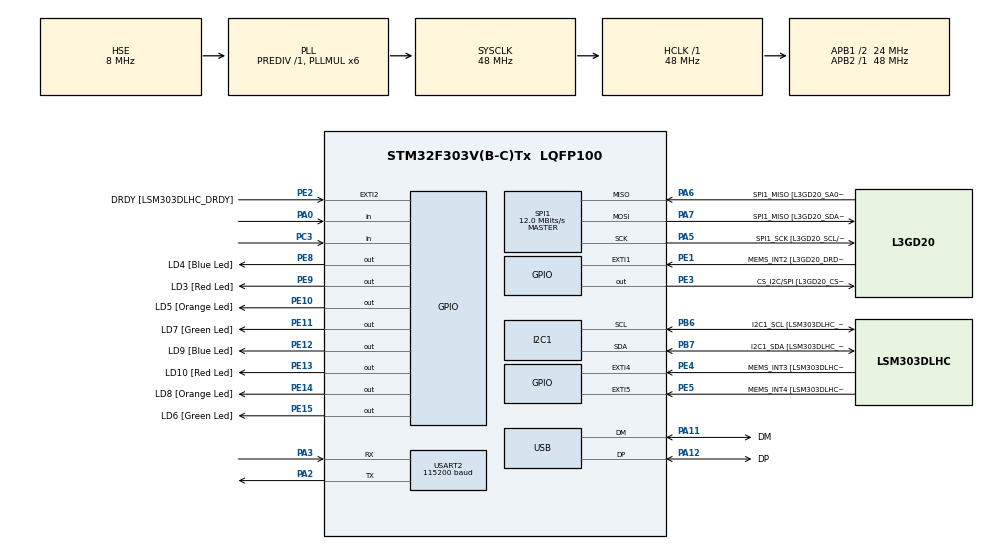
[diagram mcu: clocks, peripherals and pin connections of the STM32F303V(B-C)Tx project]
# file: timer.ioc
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I2C1.Timing-I2C=0x2000090E
Mcu.Family=STM32F3
Mcu.Name=STM32F303V(B-C)Tx
Mcu.Package=LQFP100
Mcu.UserConstants=reload_value,30000
NVIC.PVD_IRQn=true\:0\:0\:false\:false\:true\:true\:true\:true
NVIC.PriorityGroup=NVIC_PRIORITYGROUP_4
NVIC.USART2_IRQn=true\:0\:0\:false\:false\:true\:true\:true\:true
PA0.GPIO_PuPd=GPIO_PULLDOWN
PA0.Signal=GPIO_Input
PA11.GPIO_Label=DM
PA11.Mode=Device
PA11.Signal=USB_DM
PA12.GPIO_Label=DP
PA12.Mode=Device
PA12.Signal=USB_DP
PA13.GPIO_Label=SWDIO
PA13.Mode=Serial_Wire
PA13.Signal=SYS_JTMS-SWDIO
PA14.GPIO_Label=SWCLK
PA14.Mode=Serial_Wire
PA14.Signal=SYS_JTCK-SWCLK
PA2.Mode=Asynchronous
PA2.Signal=USART2_TX
PA3.Mode=Asynchronous
PA3.Signal=USART2_RX
PA5.GPIO_Label=SPI1_SCK [L3GD20_SCL/SPC]
PA5.Mode=Full_Duplex_Master
PA5.Signal=SPI1_SCK
PA6.GPIO_Label=SPI1_MISO [L3GD20_SA0/SDO]
PA6.Mode=Full_Duplex_Master
PA6.Signal=SPI1_MISO
PA7.GPIO_Label=SPI1_MISO [L3GD20_SDA/SDI/SDO]
PA7.Mode=Full_Duplex_Master
PA7.Signal=SPI1_MOSI
PB3.GPIO_Label=SWO
PB3.Signal=SYS_JTDO-TRACESWO
PB6.GPIO_Label=I2C1_SCL [LSM303DLHC_SCL]
PB6.GPIO_Pu=GPIO_PULLUP
PB6.Mode=I2C
PB6.Signal=I2C1_SCL
PB7.GPIO_Label=I2C1_SDA [LSM303DLHC_SDA]
PB7.GPIO_Pu=GPIO_PULLUP
PB7.Mode=I2C
PB7.Signal=I2C1_SDA
PC14-OSC32_IN.GPIO_Label=OSC32_IN
PC14-OSC32_IN.Signal=RCC_OSC32_IN
PC15-OSC32_OUT.GPIO_Label=OSC32_OUT
PC15-OSC32_OUT.Signal=RCC_OSC32_OUT
PC3.GPIO_PuPd=GPIO_PULLDOWN
PC3.Signal=GPIO_Input
PE1.GPIO_Label=MEMS_INT2 [L3GD20_DRDY/INT2]
PE1.GPIO_ModeDefaultEXTI=GPIO_MODE_EVT_RISING
PE1.Signal=GPXTI1
PE10.GPIO_Label=LD5 [Orange Led]
PE10.Signal=GPIO_Output
PE11.GPIO_Label=LD7 [Green Led]
PE11.Signal=GPIO_Output
PE12.GPIO_Label=LD9 [Blue Led]
PE12.Signal=GPIO_Output
PE13.GPIO_Label=LD10 [Red Led]
PE13.Signal=GPIO_Output
PE14.GPIO_Label=LD8 [Orange Led]
PE14.Signal=GPIO_Output
PE15.GPIO_Label=LD6 [Green Led]
PE15.Signal=GPIO_Output
PE2.GPIO_Label=DRDY [LSM303DLHC_DRDY]
PE2.GPIO_ModeDefaultEXTI=GPIO_MODE_EVT_RISING
PE2.Signal=GPXTI2
PE3.GPIO_Label=CS_I2C/SPI [L3GD20_CS_I2C/SPI]
PE3.Signal=GPIO_Output
PE4.GPIO_Label=MEMS_INT3 [LSM303DLHC_INT1]
PE4.GPIO_ModeDefaultEXTI=GPIO_MODE_EVT_RISING
PE4.Signal=GPXTI4
PE5.GPIO_Label=MEMS_INT4 [LSM303DLHC_INT2]
PE5.GPIO_ModeDefaultEXTI=GPIO_MODE_EVT_RISING
PE5.Signal=GPXTI5
PE8.GPIO_Label=LD4 [Blue Led]
PE8.Signal=GPIO_Output
PE9.GPIO_Label=LD3 [Red Led]
PE9.Signal=GPIO_Output
PF0-OSC_IN.GPIO_Label=OSC_IN
PF0-OSC_IN.Mode=HSE-External-Clock-Source
PF0-OSC_IN.Signal=RCC_OSC_IN
PF1-OSC_OUT.GPIO_Label=OSC_OUT
PF1-OSC_OUT.Signal=RCC_OSC_OUT
ProjectManager.HeapSize=0x200
ProjectManager.StackSize=0x400
ProjectManager.TargetToolchain=STM32CubeIDE
RCC.AHBFreq_Value=48000000
RCC.APB1CLKDivider=RCC_HCLK_DIV2
RCC.APB1Freq_Value=24000000
RCC.APB1TimFreq_Value=48000000
RCC.APB2Freq_Value=48000000
RCC.APB2TimFreq_Value=48000000
RCC.CortexFreq_Value=48000000
RCC.HCLKFreq_Value=48000000
RCC.HSE_VALUE=8000000
RCC.HSI_VALUE=8000000
RCC.LSE_VALUE=32768
RCC.PLLMUL=RCC_PLL_MUL6
RCC.SYSCLKFreq_VALUE=48000000
RCC.SYSCLKSourceVirtual=RCC_SYSCLKSOURCE_PLLCLK
RCC.USBFreq_Value=48000000
SPI1.BaudRatePrescaler=SPI_BAUDRATEPRESCALER_4
SPI1.BaudRatePrescaler-Full_Duplex_Master=SPI_BAUDRATEPRESCALER_2
SPI1.CalculateBaudRate=12.0 MBits/s
SPI1.CalculateBaudRate-Full_Duplex_Master=24.0 MBits/s
SPI1.Direction=SPI_DIRECTION_2LINES
SPI1.Mode=SPI_MODE_MASTER
SPI1.Mode-Full_Duplex_Master=SPI_MODE_MASTER
SPI1.VirtualType=VM_MASTER
USART2.BaudRate=115200
USART2.VirtualMode-Asynchronous=VM_ASYNC
board=STM32F3DISCOVERY

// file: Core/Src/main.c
/* USER CODE BEGIN Header */
/**
  ******************************************************************************
  * @file           : main.c
  * @brief          : Main program body
  ******************************************************************************
  * @attention
  *
  * Copyright (c) 2023 STMicroelectronics.
  * All rights reserved.
  *
  * This software is licensed under terms that can be found in the LICENSE file
  * in the root directory of this software component.
  * If no LICENSE file comes with this software, it is provided AS-IS.
  *
  ******************************************************************************
  */
/* USER CODE END Header */
#include "main.h"
#include "i2c.h"
#include "spi.h"
#include "usart.h"
#include "usb.h"
#include "gpio.h"

/* USER CODE BEGIN Includes */
#include "string.h"
#include "stdbool.h"
#include "stdio.h"
/* USER CODE END Includes */

/* USER CODE BEGIN PV */
volatile uint32_t counter = 0;
volatile bool rdy = false;
char msg[100];
uint32_t safe_counter = 0;
/* USER CODE END PV */

void SystemClock_Config(void);
/* USER CODE BEGIN PFP */

//void HAL_GPIO_EXTI_Callback(uint16_t GPIO_Pin){
//	if (GPIO_Pin == GPIO_PIN_0){
//		HAL_GPIO_TogglePin(GPIOE, GPIO_PIN_8);
//		if (HAL_GPIO_ReadPin(GPIOA, GPIO_Pin) == GPIO_PIN_SET)
//			++counter;
//	}
//}
////
//void HAL_TIM_PeriodElapsedCallback(TIM_HandleTypeDef *htim){
//	if (htim == &htim2){
////		__disable_irq();
//		safe_counter = counter;
//		counter = 0;
//		rdy = true;
////		__enable_irq();
//	}
//}

/* USER CODE END PFP */

int main(void)
{

  /* MCU Configuration--------------------------------------------------------*/

  /* Reset of all peripherals, Initializes the Flash interface and the Systick. */
  HAL_Init();

  /* Configure the system clock */
  SystemClock_Config();

  /* Initialize all configured peripherals */
  MX_GPIO_Init();
  MX_I2C1_Init();
  MX_SPI1_Init();
  MX_USB_PCD_Init();
  MX_USART2_UART_Init();
  /* USER CODE BEGIN 2 */
//  HAL_TIM_Base_Start_IT(&htim2);
  /* USER CODE END 2 */

  /* Infinite loop */
  /* USER CODE BEGIN WHILE */
  bool prev_state = false;
  uint32_t cnt = 0;
  uint32_t angle = 0;
  float r = 0.1;
  float speed = 0;
  while (1)
  {
//	  while (!rdy){
		  bool state = HAL_GPIO_ReadPin(GPIOC, GPIO_PIN_3);
		  if (state != prev_state){
			  prev_state = state;
			  ++counter;
//			  HAL_UART_Transmit_IT(&huart2, "c", 1);
		  }
//	  }
//	  rdy = false;
	  if (cnt % 15 == 0) {
		  angle = counter * 4;
		  speed = ((3.14 * r) / 180) * angle * 1000 / 15; // m/s
//		  sprintf(msg, ": %lu \r\n", (int)speed);

		  //HAL_UART_Transmit_IT(&huart2, (unsigned char*)msg, strlen(msg)); // to can
		  counter = 0;
	  }
	  if (cnt % 1000 == 0) {
		  sprintf(msg, "presses this second: %.2f\r\n", speed);

		  HAL_UART_Transmit_IT(&huart2, (unsigned char*)msg, strlen(msg));

	  }
    /* USER CODE END WHILE */

    /* USER CODE BEGIN 3 */

	  HAL_Delay(1);
	  cnt++;
	  if (10000 == cnt) {
		  cnt = 0;
	  }
  }
  /* USER CODE END 3 */
}

void SystemClock_Config(void)
{
  RCC_OscInitTypeDef RCC_OscInitStruct = {0};
  RCC_ClkInitTypeDef RCC_ClkInitStruct = {0};
  RCC_PeriphCLKInitTypeDef PeriphClkInit = {0};

  /** Initializes the RCC Oscillators according to the specified parameters
  * in the RCC_OscInitTypeDef structure.
  */
  RCC_OscInitStruct.OscillatorType = RCC_OSCILLATORTYPE_HSI|RCC_OSCILLATORTYPE_HSE;
  RCC_OscInitStruct.HSEState = RCC_HSE_BYPASS;
  RCC_OscInitStruct.HSEPredivValue = RCC_HSE_PREDIV_DIV1;
  RCC_OscInitStruct.HSIState = RCC_HSI_ON;
  RCC_OscInitStruct.HSICalibrationValue = RCC_HSICALIBRATION_DEFAULT;
  RCC_OscInitStruct.PLL.PLLState = RCC_PLL_ON;
  RCC_OscInitStruct.PLL.PLLSource = RCC_PLLSOURCE_HSE;
  RCC_OscInitStruct.PLL.PLLMUL = RCC_PLL_MUL6;
  if (HAL_RCC_OscConfig(&RCC_OscInitStruct) != HAL_OK)
  {
    Error_Handler();
  }

  /** Initializes the CPU, AHB and APB buses clocks
  */
  RCC_ClkInitStruct.ClockType = RCC_CLOCKTYPE_HCLK|RCC_CLOCKTYPE_SYSCLK
                              |RCC_CLOCKTYPE_PCLK1|RCC_CLOCKTYPE_PCLK2;
  RCC_ClkInitStruct.SYSCLKSource = RCC_SYSCLKSOURCE_PLLCLK;
  RCC_ClkInitStruct.AHBCLKDivider = RCC_SYSCLK_DIV1;
  RCC_ClkInitStruct.APB1CLKDivider = RCC_HCLK_DIV2;
  RCC_ClkInitStruct.APB2CLKDivider = RCC_HCLK_DIV1;

  if (HAL_RCC_ClockConfig(&RCC_ClkInitStruct, FLASH_LATENCY_1) != HAL_OK)
  {
    Error_Handler();
  }
  PeriphClkInit.PeriphClockSelection = RCC_PERIPHCLK_USB|RCC_PERIPHCLK_USART2
                              |RCC_PERIPHCLK_I2C1;
  PeriphClkInit.Usart2ClockSelection = RCC_USART2CLKSOURCE_PCLK1;
  PeriphClkInit.I2c1ClockSelection = RCC_I2C1CLKSOURCE_HSI;
  PeriphClkInit.USBClockSelection = RCC_USBCLKSOURCE_PLL;
  if (HAL_RCCEx_PeriphCLKConfig(&PeriphClkInit) != HAL_OK)
  {
    Error_Handler();
  }
}

void Error_Handler(void)
{
  __disable_irq();
  while (1)
  {
  }
}
